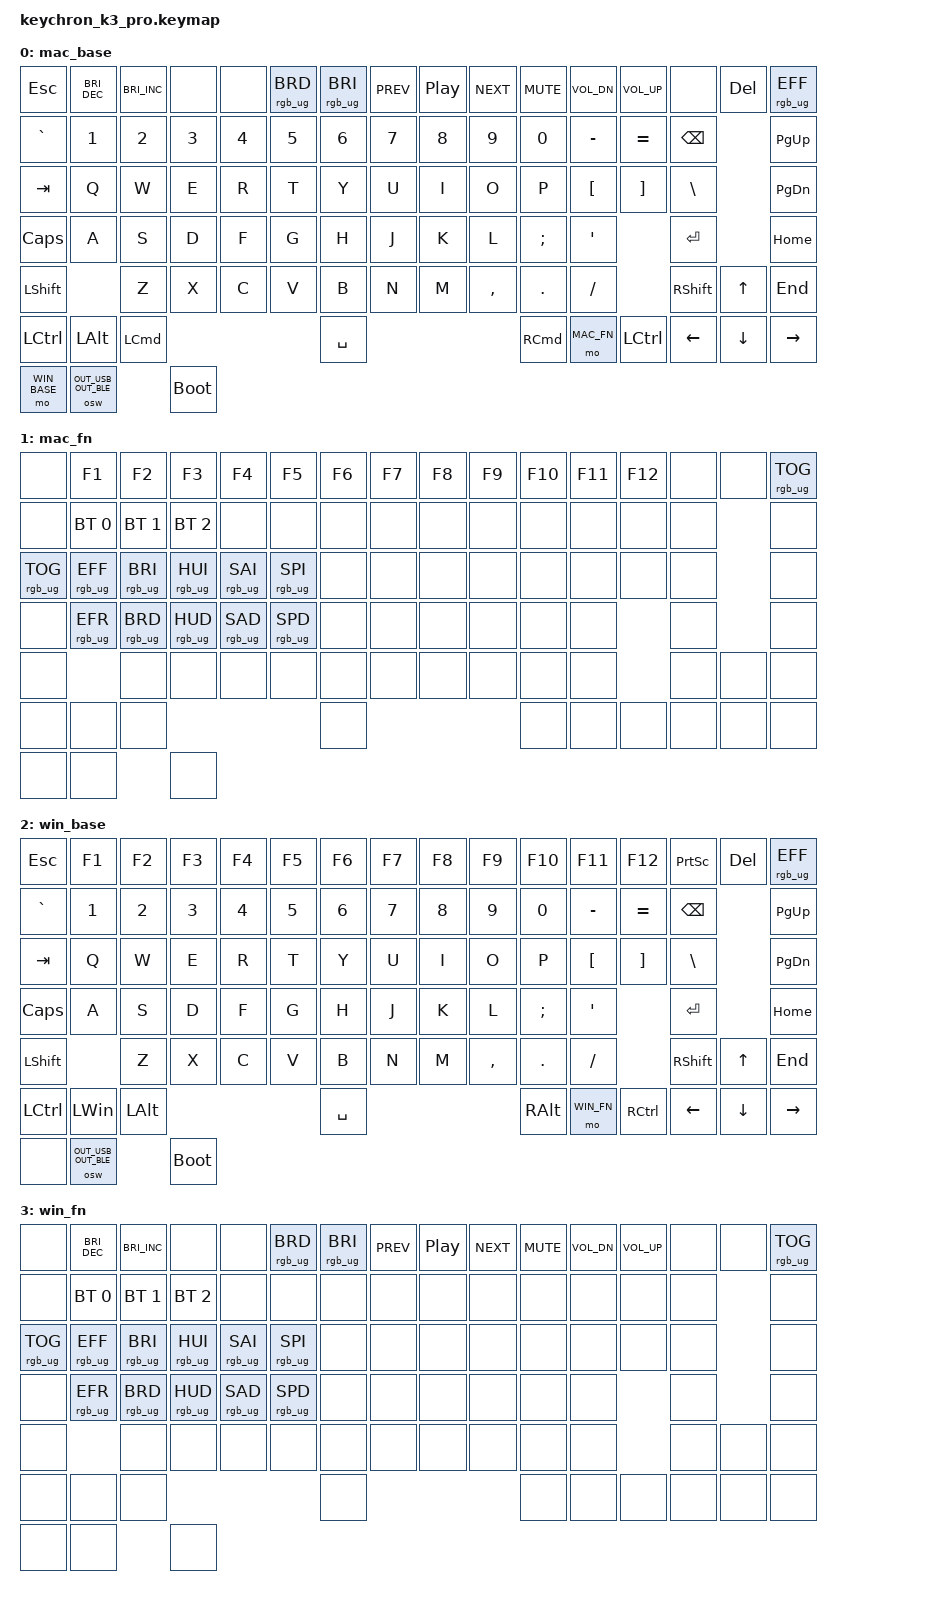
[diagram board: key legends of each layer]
/*
 * Copyright (c) 2022-2023 XiNGRZ
 * SPDX-License-Identifier: MIT
 */

#include <behaviors.dtsi>
#include <behaviors/outputs_switch.dtsi>
#include <dt-bindings/zmk/keys.h>
#include <dt-bindings/zmk/rgb.h>
#include <dt-bindings/zmk/bt.h>
#include <dt-bindings/zmk/outputs.h>

#define MAC_BASE 0
#define MAC_FN   1
#define WIN_BASE 2
#define WIN_FN   3

/ {
	keymap {
		compatible = "zmk,keymap";

		mac_base {
			bindings = <
				&kp ESC   &kp C_BRI_DEC &kp C_BRI_INC &none   &none   &rgb_ug RGB_BRD &rgb_ug RGB_BRI &kp C_PREV  &kp C_PP  &kp C_NEXT  &kp C_MUTE  &kp C_VOL_DN  &kp C_VOL_UP  &none     &kp DEL   &rgb_ug RGB_EFF
				&kp GRAVE &kp N1        &kp N2        &kp N3  &kp N4  &kp N5          &kp N6          &kp N7      &kp N8    &kp N9      &kp N0      &kp MINUS     &kp EQUAL     &kp BSPC            &kp PG_UP
				&kp TAB   &kp Q         &kp W         &kp E   &kp R   &kp T           &kp Y           &kp U       &kp I     &kp O       &kp P       &kp LBKT      &kp RBKT      &kp BSLH            &kp PG_DN
				&kp CLCK  &kp A         &kp S         &kp D   &kp F   &kp G           &kp H           &kp J       &kp K     &kp L       &kp SEMI    &kp SQT                     &kp RET             &kp HOME
				&kp LSHFT               &kp Z         &kp X   &kp C   &kp V           &kp B           &kp N       &kp M     &kp COMMA   &kp DOT     &kp FSLH                    &kp RSHFT &kp UP    &kp END
				&kp LCTRL &kp LALT      &kp LCMD                                      &kp SPACE                                         &kp RCMD    &mo MAC_FN    &kp LCTRL     &kp LEFT  &kp DOWN  &kp RIGHT
				&mo WIN_BASE  &osw OUT_USB OUT_BLE  &bootloader
			>;
		};

		mac_fn {
			bindings = <
				&none           &kp F1          &kp F2          &kp F3          &kp F4          &kp F5          &kp F6  &kp F7  &kp F8  &kp F9  &kp F10 &kp F11 &kp F12 &none   &none   &rgb_ug RGB_TOG
				&none           &bt BT_SEL 0    &bt BT_SEL 1    &bt BT_SEL 2    &none           &none           &none   &none   &none   &none   &none   &none   &none   &none           &none
				&rgb_ug RGB_TOG &rgb_ug RGB_EFF &rgb_ug RGB_BRI &rgb_ug RGB_HUI &rgb_ug RGB_SAI &rgb_ug RGB_SPI &none   &none   &none   &none   &none   &none   &none   &none           &none
				&none           &rgb_ug RGB_EFR &rgb_ug RGB_BRD &rgb_ug RGB_HUD &rgb_ug RGB_SAD &rgb_ug RGB_SPD &none   &none   &none   &none   &none   &none           &none           &none
				&none                           &none           &none           &none           &none           &none   &none   &none   &none   &none   &none           &none   &none   &none
				&none           &none           &none                                                           &none                           &none   &none   &none   &none   &none   &none
				&none   &none   &none
			>;
		};

		win_base {
			bindings = <
				&kp ESC   &kp F1    &kp F2    &kp F3  &kp F4  &kp F5  &kp F6    &kp F7  &kp F8  &kp F9    &kp F10   &kp F11     &kp F12   &kp PSCRN &kp DEL   &rgb_ug RGB_EFF
				&kp GRAVE &kp N1    &kp N2    &kp N3  &kp N4  &kp N5  &kp N6    &kp N7  &kp N8  &kp N9    &kp N0    &kp MINUS   &kp EQUAL &kp BSPC            &kp PG_UP
				&kp TAB   &kp Q     &kp W     &kp E   &kp R   &kp T   &kp Y     &kp U   &kp I   &kp O     &kp P     &kp LBKT    &kp RBKT  &kp BSLH            &kp PG_DN
				&kp CLCK  &kp A     &kp S     &kp D   &kp F   &kp G   &kp H     &kp J   &kp K   &kp L     &kp SEMI  &kp SQT               &kp RET             &kp HOME
				&kp LSHFT           &kp Z     &kp X   &kp C   &kp V   &kp B     &kp N   &kp M   &kp COMMA &kp DOT   &kp FSLH              &kp RSHFT &kp UP    &kp END
				&kp LCTRL &kp LWIN  &kp LALT                          &kp SPACE                           &kp RALT  &mo WIN_FN  &kp RCTRL &kp LEFT  &kp DOWN  &kp RIGHT
				&none   &osw OUT_USB OUT_BLE  &bootloader
			>;
		};

		win_fn {
			bindings = <
				&none           &kp C_BRI_DEC   &kp C_BRI_INC   &none           &none           &rgb_ug RGB_BRD &rgb_ug RGB_BRI &kp C_PREV  &kp C_PP  &kp C_NEXT  &kp C_MUTE  &kp C_VOL_DN  &kp C_VOL_UP  &none   &none   &rgb_ug RGB_TOG
				&none           &bt BT_SEL 0    &bt BT_SEL 1    &bt BT_SEL 2    &none           &none           &none           &none       &none     &none       &none       &none         &none         &none           &none
				&rgb_ug RGB_TOG &rgb_ug RGB_EFF &rgb_ug RGB_BRI &rgb_ug RGB_HUI &rgb_ug RGB_SAI &rgb_ug RGB_SPI &none           &none       &none     &none       &none       &none         &none         &none           &none
				&none           &rgb_ug RGB_EFR &rgb_ug RGB_BRD &rgb_ug RGB_HUD &rgb_ug RGB_SAD &rgb_ug RGB_SPD &none           &none       &none     &none       &none       &none                       &none           &none
				&none                           &none           &none           &none           &none           &none           &none       &none     &none       &none       &none                       &none   &none   &none
				&none           &none           &none                                                           &none                                             &none       &none         &none         &none   &none   &none
				&none   &none   &none
			>;
		};
	};
};
